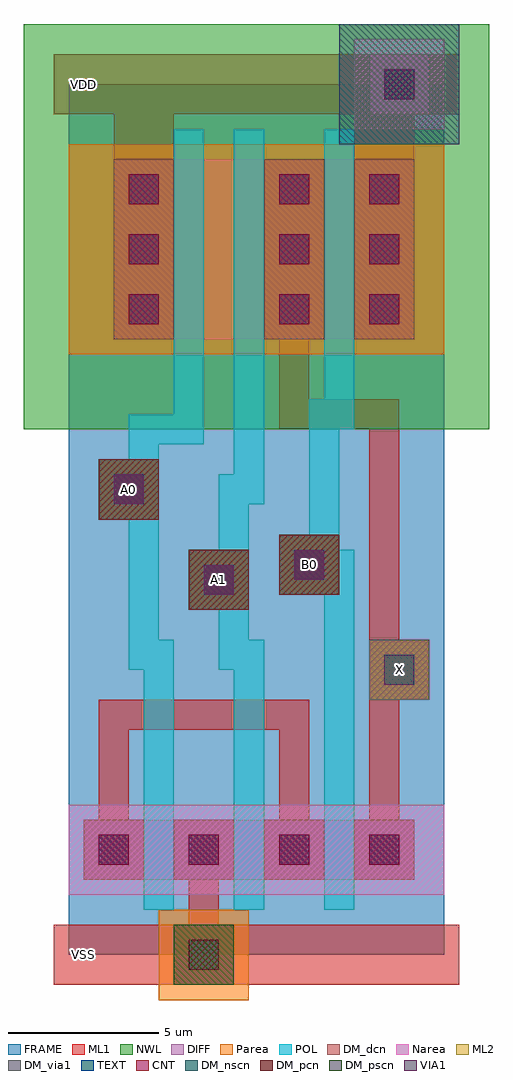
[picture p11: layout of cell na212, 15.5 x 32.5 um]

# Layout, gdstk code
import gdstk
lib = gdstk.Library(unit=1e-6, precision=1e-09)
def R(c, l, rs):  # rectangles x0, y0, x1, y1
    for r in rs: c.add(gdstk.rectangle(r[:2], r[2:], *l))
NWL = (1, 0)
DIFF = (3, 0)
POL = (5, 0)
CNT = (7, 0)
ML1 = (8, 0)
VIA1 = (9, 0)
ML2 = (10, 0)
TEXT = (13, 0)
FRAME = (14, 0)
Parea = (18, 0)
Narea = (19, 0)
DM_dcn = (101, 0)
DM_pcn = (102, 0)
DM_nscn = (103, 0)
DM_pscn = (104, 0)
DM_via1 = (105, 0)

dcont = lib.new_cell('dcont')
R(dcont, DIFF, [(-1,-1,1,1)])
R(dcont, CNT, [(-0.5,-0.5,0.5,0.5)])
R(dcont, ML1, [(-1,-1,1,1)])
R(dcont, TEXT, [(-0.5,-0.5,0.5,0.5)])
R(dcont, DM_dcn, [(-1,-1,1,1)])
dcont.add(gdstk.Label('dcont', (0,0), layer=13, texttype=0))

pcont = lib.new_cell('pcont')
R(pcont, POL, [(-1,-1,1,1)])
R(pcont, CNT, [(-0.5,-0.5,0.5,0.5)])
R(pcont, ML1, [(-1,-1,1,1)])
R(pcont, DM_pcn, [(-1,-1,1,1)])
pcont.add(gdstk.Label('pcont', (0,0), layer=13, texttype=0))

nsubcont = lib.new_cell('nsubcont')
R(nsubcont, NWL, [(-2,-2,2,2)])
R(nsubcont, Narea, [(-1.5,-1.5,1.5,1.5)])
R(nsubcont, DM_nscn, [(-2,-2,2,2)])
nsubcont.add(gdstk.Reference(dcont, (0,0)))
nsubcont.add(gdstk.Label('NScont', (0,0), layer=13, texttype=0))

psubcont = lib.new_cell('psubcont')
R(psubcont, Parea, [(-1.5,-1.5,1.5,1.5)])
R(psubcont, DM_pscn, [(-1,-1,1,1)])
psubcont.add(gdstk.Reference(dcont, (0,0)))
psubcont.add(gdstk.Label('PScon', (0,0), layer=13, texttype=0))

via = lib.new_cell('Via')
R(via, ML1, [(-1,-1,1,1)])
R(via, VIA1, [(-0.5,-0.5,0.5,0.5)])
R(via, ML2, [(-1,-1,1,1)])
R(via, TEXT, [(-0.5,-0.5,0.5,0.5)])
R(via, DM_via1, [(-1,-1,1,1)])
via.add(gdstk.Label('via', (0,0), layer=13, texttype=0))

na212 = lib.new_cell('na212')
R(na212, NWL, [(-1.5,17.5,14,31)])
R(na212, DIFF, [(0.5,2.5,8.5,4.5), (8.5,2.5,11.5,4.5), (1.5,20.5,11.5,26.5)])
R(na212, ML1, [(-0.5,-1,13,1), (10,8.5,12,10.5), (4,11.5,6,13.5), (7,12,9,14), (1,14.5,3,16.5), (-0.5,28,13,30)])
R(na212, ML2, [(10,8.5,12,10.5), (4,11.5,6,13.5), (7,12,9,14), (1,14.5,3,16.5)])
R(na212, FRAME, [(0,0,12.5,29)])
R(na212, Parea, [(0,20,12.5,27)])
R(na212, Narea, [(0,2,12.5,5)])
R(na212, DM_via1, [(10,8.5,12,10.5), (4,11.5,6,13.5), (7,12,9,14), (1,14.5,3,16.5)])
na212.add(gdstk.FlexPath([(4,27),(4,17.5),(2.5,17.5),(2.5,10),(3,10),(3,2)], 1, ends="extended", simple_path=True, layer=5, datatype=0))  # POL
na212.add(gdstk.FlexPath([(6,27),(6,15.5),(5.5,15.5),(5.5,10),(6,10),(6,2)], 1, ends="extended", simple_path=True, layer=5, datatype=0))  # POL
na212.add(gdstk.FlexPath([(9,27),(9,18),(8.5,18),(8.5,13),(9,13),(9,2)], 1, ends="extended", simple_path=True, layer=5, datatype=0))  # POL
na212.add(gdstk.FlexPath([(10.5,21.5),(10.5,28.5)], 2, ends="extended", simple_path=True, layer=8, datatype=0))  # ML1
na212.add(gdstk.FlexPath([(7.5,20.5),(7.5,18),(10.5,18),(10.5,3.5)], 1, ends="extended", simple_path=True, layer=8, datatype=0))  # ML1
na212.add(gdstk.FlexPath([(7.5,22.3),(7.5,25.5)], 1.4, ends="extended", simple_path=True, layer=8, datatype=0))  # ML1
na212.add(gdstk.FlexPath([(7.5,3.5),(7.5,8),(1.5,8),(1.5,3.5)], 1, ends="extended", simple_path=True, layer=8, datatype=0))  # ML1
na212.add(gdstk.FlexPath([(4.5,1),(4.5,3.5)], 1, ends="extended", simple_path=True, layer=8, datatype=0))  # ML1
na212.add(gdstk.FlexPath([(2.5,21.5),(2.5,28.5)], 2, ends="extended", simple_path=True, layer=8, datatype=0))  # ML1
na212.add(gdstk.Reference(dcont, (7.5,21.5)))
na212.add(gdstk.Reference(pcont, (8,13)))
na212.add(gdstk.Reference(dcont, (10.5,23.5)))
na212.add(gdstk.Reference(nsubcont, (11,29)))
na212.add(gdstk.Reference(dcont, (2.5,25.5)))
na212.add(gdstk.Reference(dcont, (10.5,21.5)))
na212.add(gdstk.Reference(psubcont, (4.5,0)))
na212.add(gdstk.Reference(via, (8,13)))
na212.add(gdstk.Reference(dcont, (2.5,23.5)))
na212.add(gdstk.Reference(dcont, (10.5,3.5)))
na212.add(gdstk.Reference(dcont, (4.5,3.5)))
na212.add(gdstk.Reference(pcont, (2,15.5)))
na212.add(gdstk.Reference(dcont, (2.5,21.5)))
na212.add(gdstk.Reference(dcont, (10.5,25.5)))
na212.add(gdstk.Reference(pcont, (5,12.5)))
na212.add(gdstk.Reference(dcont, (7.5,25.5)))
na212.add(gdstk.Reference(dcont, (7.5,3.5)))
na212.add(gdstk.Reference(via, (5,12.5)))
na212.add(gdstk.Reference(dcont, (1.5,3.5)))
na212.add(gdstk.Reference(dcont, (7.5,23.5)))
na212.add(gdstk.Reference(via, (2,15.5)))
na212.add(gdstk.Reference(via, (11,9.5)))
na212.add(gdstk.Label('VDD', (0.5,29), layer=8, texttype=0))
na212.add(gdstk.Label('VSS', (0.5,0), layer=8, texttype=0))
na212.add(gdstk.Label('A1', (5,12.5), layer=10, texttype=0))
na212.add(gdstk.Label('A0', (2,15.5), layer=10, texttype=0))
na212.add(gdstk.Label('B0', (8,13), layer=10, texttype=0))
na212.add(gdstk.Label('X', (11,9.5), layer=10, texttype=0))
na212.add(gdstk.Label('via', (11,9.5), layer=13, texttype=0))
na212.add(gdstk.Label('via', (2,15.5), layer=13, texttype=0))
na212.add(gdstk.Label('via', (5,12.5), layer=13, texttype=0))
na212.add(gdstk.Label('via', (8,13), layer=13, texttype=0))

lib.write_gds('na212.gds')
